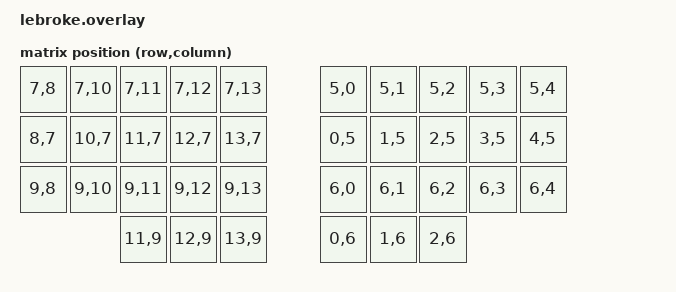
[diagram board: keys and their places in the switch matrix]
#include <dt-bindings/zmk/matrix_transform.h>
#include "lebroke-layouts.dtsi"

/ {
    chosen {
        zmk,physical-layout = &lebroke_physical_layout;
    };
};

/ {
    behaviors {
        hw_soft_off: hw_soft_off {
            compatible = "zmk,behavior-soft-off";
            #binding-cells = <0>;
            split-peripheral-off-on-press; // Turn peripheral off immediately for reliability
            hold-time-ms = <2000>; // Only turn off if the key is held for 2 seconds or longer.
        };
    };
};

/ {
    keys {
        compatible = "gpio-keys";
        soft_off_gpio_key: soft_off_gpio_key {
            gpios = <&gpio0 0 (GPIO_ACTIVE_LOW | GPIO_PULL_UP)>;
        };
    };
};

/ {
    wakeup_scan: wakeup_scan {
        compatible = "zmk,kscan-gpio-direct";
        input-keys = <&soft_off_gpio_key>;
        wakeup-source;
    };
};

/ {
    side_band_behavior_triggers: side_band_behavior_triggers {
        compatible = "zmk,kscan-sideband-behaviors";

        kscan = <&wakeup_scan>;
        auto-enable;
        wakeup-source;

        soft_off {
            column = <0>;
            row = <0>;
            bindings = <&hw_soft_off>;
        };
    };
};

/ {
    soft_off_wakers {
        compatible = "zmk,soft-off-wakeup-sources";
        wakeup-sources = <&wakeup_scan>;
    };
};

/ {

    kscan0: kscan_composite {
        compatible = "zmk,kscan-composite";
        rows = <4>;
        columns = <10>;

        // Include the charlieplex driver
        charlieplex {
            kscan = <&kscan1>;
        };

        // Include the matrix driver...
        //matrix {
        //    kscan = <&kscan2>;
        //    row-offset = <15>; // ...and shift it to not overlap
    	//    col-offset = <15>;
        //};
    };

    kscan1: kscan_charlieplex {
        compatible = "zmk,kscan-gpio-charlieplex";

        gpios
	    = <&pro_micro 2 GPIO_ACTIVE_HIGH>  // 0
            , <&pro_micro 3 GPIO_ACTIVE_HIGH>  // 1
            , <&pro_micro 4 GPIO_ACTIVE_HIGH>  // 2
            , <&pro_micro 5 GPIO_ACTIVE_HIGH>  // 3
            , <&pro_micro 6 GPIO_ACTIVE_HIGH>  // 4
            , <&pro_micro 7 GPIO_ACTIVE_HIGH>  // 5
            , <&pro_micro 8 GPIO_ACTIVE_HIGH>  // 6
            , <&pro_micro 14 GPIO_ACTIVE_HIGH> // 7
            , <&pro_micro 15 GPIO_ACTIVE_HIGH> // 8
            , <&pro_micro 16 GPIO_ACTIVE_HIGH> // 9
            , <&pro_micro 18 GPIO_ACTIVE_HIGH> // 10
            , <&pro_micro 19 GPIO_ACTIVE_HIGH> // 11
            , <&pro_micro 20 GPIO_ACTIVE_HIGH> // 12
            , <&pro_micro 21 GPIO_ACTIVE_HIGH> // 13
            ;
    };
    
    //kscan2: kscan_direct {
    //    compatible = "zmk,kscan-gpio-direct";
    //    wakeup-source;
    //    input-gpios
    //        = <&pro_micro 0 (GPIO_ACTIVE_HIGH | GPIO_PULL_UP)> // 0 but 15 after shift
    //        ;
    //};
};



/ {
    default_transform: keymap_transform0 {
        compatible = "zmk,matrix-transform";
        columns = <10>; // Length of the "col-gpios" array
        rows = <4>; // Length of the "row-gpios" array
        map = <
            RC(7,8)  RC(7,10) RC(7,11) RC(7,12) RC(7,13)    RC(5,0) RC(5,1) RC(5,2) RC(5,3) RC(5,4)
	    RC(8,7)  RC(10,7) RC(11,7) RC(12,7) RC(13,7)    RC(0,5) RC(1,5) RC(2,5) RC(3,5) RC(4,5)
	    RC(9,8)  RC(9,10) RC(9,11) RC(9,12) RC(9,13)    RC(6,0) RC(6,1) RC(6,2) RC(6,3) RC(6,4)
	                      RC(11,9) RC(12,9) RC(13,9)    RC(0,6) RC(1,6) RC(2,6)
        >;
    };
};
